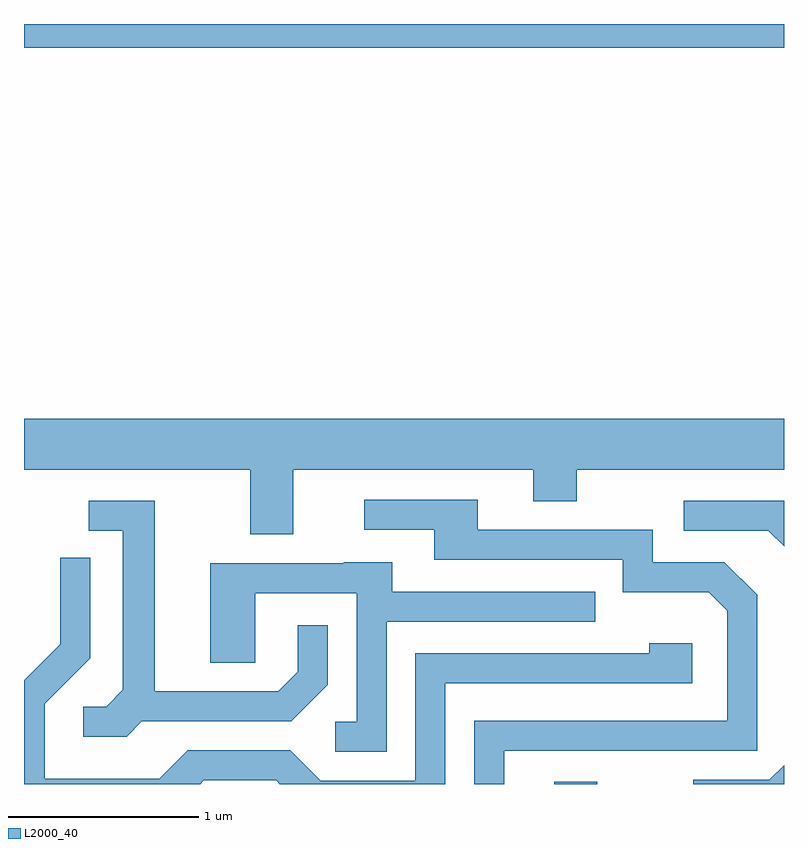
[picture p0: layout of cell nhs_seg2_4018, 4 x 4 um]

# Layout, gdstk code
import gdstk
lib = gdstk.Library(unit=1e-6, precision=1e-09)
def R(c, l, rs):  # rectangles x0, y0, x1, y1
    for r in rs: c.add(gdstk.rectangle(r[:2], r[2:], *l))
def P(c, l, *ps):  # polygons
    for p in ps: c.add(gdstk.Polygon(p, *l))
L2000_40 = (2000, 40)

nhs_seg2_4018 = lib.new_cell('nhs_seg2_4018')
R(nhs_seg2_4018, L2000_40, [(306.401,1017.802,306.629,1017.814), (303.611,1021.676,307.611,1021.802)])
P(nhs_seg2_4018, L2000_40, [(305.029,1019.456),(306.291,1019.456),(306.291,1019.291),(306.519,1019.291),(306.519,1019.456),(307.611,1019.456),(307.611,1019.724),(303.611,1019.724),(303.611,1019.456),(304.801,1019.456),(304.801,1019.116),(305.029,1019.116)],
  [(306.139,1017.976),(307.469,1017.976),(307.469,1018.797),(307.297,1018.969),(306.919,1018.969),(306.919,1019.139),(305.999,1019.139),(305.999,1019.299),(305.403,1019.299),(305.403,1019.141),(305.771,1019.141),(305.771,1018.981),(306.761,1018.981),(306.761,1018.811),(307.214,1018.811),(307.311,1018.714),(307.311,1018.134),(305.981,1018.134),(305.981,1017.802),(306.139,1017.802)],
  [(304.232,1018.131),(305.017,1018.131),(305.209,1018.324),(305.209,1018.638),(305.051,1018.638),(305.051,1018.392),(304.949,1018.289),(304.299,1018.289),(304.299,1019.294),(303.953,1019.294),(303.953,1019.136),(304.131,1019.136),(304.131,1018.297),(304.044,1018.209),(303.923,1018.209),(303.923,1018.051),(304.152,1018.051)],
  [(307.611,1019.294),(307.083,1019.294),(307.083,1019.136),(307.529,1019.136),(307.611,1019.054)],
  [(304.557,1017.821),(304.939,1017.821),(304.958,1017.802),(305.829,1017.802),(305.829,1018.331),(307.129,1018.331),(307.129,1018.544),(306.901,1018.544),(306.901,1018.489),(305.671,1018.489),(305.671,1017.819),(305.172,1017.819),(305.012,1017.979),(304.474,1017.979),(304.324,1017.829),(303.719,1017.829),(303.719,1018.224),(303.959,1018.464),(303.959,1018.993),(303.801,1018.993),(303.801,1018.537),(303.611,1018.347),(303.611,1017.802),(304.538,1017.802)],
  [(305.519,1018.656),(306.618,1018.656),(306.618,1018.814),(305.549,1018.814),(305.549,1018.969),(305.295,1018.969),(305.295,1018.964),(304.591,1018.964),(304.591,1018.441),(304.829,1018.441),(304.829,1018.806),(305.361,1018.806),(305.361,1018.129),(305.248,1018.129),(305.248,1017.971),(305.519,1017.971)],
  [(307.611,1017.902),(307.534,1017.824),(307.133,1017.824),(307.133,1017.802),(307.611,1017.802)])

lib.write_gds('nhs_seg2_4018.gds')
